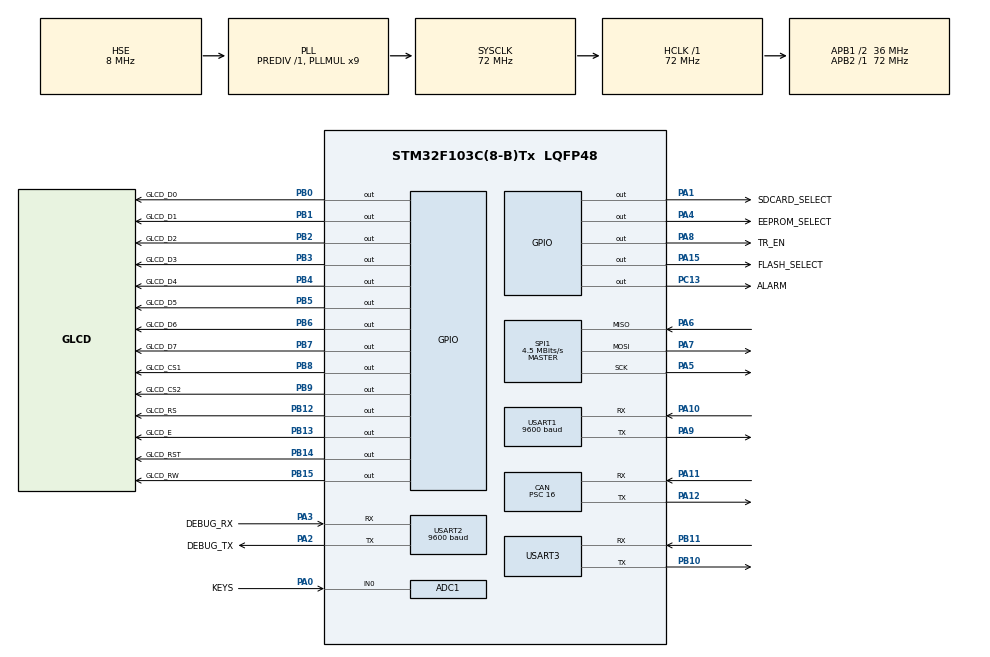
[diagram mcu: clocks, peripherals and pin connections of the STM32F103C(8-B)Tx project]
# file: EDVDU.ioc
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ADC1.Channel-1\#ChannelRegularConversion=ADC_CHANNEL_0
ADC1.EnableInjectedConversion=DISABLE
ADC1.NbrOfConversionFlag=1
ADC1.Rank-1\#ChannelRegularConversion=1
ADC1.SamplingTime-1\#ChannelRegularConversion=ADC_SAMPLETIME_1CYCLE_5
ADC1.master=1
CAN.CalculateBaudRate=749999
CAN.CalculateTimeBit=1333
CAN.CalculateTimeQuantum=444.44444444444446
CAN.Prescaler=16
CAN.SJW=CAN_SJW_1TQ
Dma.ADC1.0.Direction=DMA_PERIPH_TO_MEMORY
Dma.ADC1.0.Instance=DMA1_Channel1
Dma.ADC1.0.MemDataAlignment=DMA_MDATAALIGN_HALFWORD
Dma.ADC1.0.MemInc=DMA_MINC_ENABLE
Dma.ADC1.0.Mode=DMA_NORMAL
Dma.ADC1.0.PeriphDataAlignment=DMA_PDATAALIGN_HALFWORD
Dma.ADC1.0.PeriphInc=DMA_PINC_DISABLE
Dma.ADC1.0.Priority=DMA_PRIORITY_LOW
Dma.Request0=ADC1
Mcu.Family=STM32F1
Mcu.Name=STM32F103C(8-B)Tx
Mcu.Package=LQFP48
NVIC.ADC1_2_IRQn=true\:0\:0\:false\:false\:true\:true\:true\:true
NVIC.DMA1_Channel1_IRQn=true\:0\:0\:false\:false\:true\:false\:true\:true
NVIC.PriorityGroup=NVIC_PRIORITYGROUP_4
NVIC.USART2_IRQn=true\:0\:0\:false\:false\:true\:true\:true\:true
PA0-WKUP.GPIO_Label=KEYS
PA0-WKUP.Signal=ADCx_IN0
PA1.GPIO_Label=SDCARD_SELECT
PA1.Signal=GPIO_Output
PA10.Mode=Asynchronous
PA10.Signal=USART1_RX
PA11.Mode=CAN_Activate
PA11.Signal=CAN_RX
PA12.Mode=CAN_Activate
PA12.Signal=CAN_TX
PA13.Mode=Serial_Wire
PA13.Signal=SYS_JTMS-SWDIO
PA14.Mode=Serial_Wire
PA14.Signal=SYS_JTCK-SWCLK
PA15.GPIO_Label=FLASH_SELECT
PA15.Signal=GPIO_Output
PA2.GPIO_Label=DEBUG_TX
PA2.Mode=Asynchronous
PA2.Signal=USART2_TX
PA3.GPIO_Label=DEBUG_RX
PA3.Mode=Asynchronous
PA3.Signal=USART2_RX
PA4.GPIO_Label=EEPROM_SELECT
PA4.Signal=GPIO_Output
PA5.Mode=Full_Duplex_Master
PA5.Signal=SPI1_SCK
PA6.Mode=Full_Duplex_Master
PA6.Signal=SPI1_MISO
PA7.Mode=Full_Duplex_Master
PA7.Signal=SPI1_MOSI
PA8.GPIO_Label=TR_EN
PA8.Signal=GPIO_Output
PA9.Mode=Asynchronous
PA9.Signal=USART1_TX
PB0.GPIO_Label=GLCD_D0
PB0.Signal=GPIO_Output
PB1.GPIO_Label=GLCD_D1
PB1.Signal=GPIO_Output
PB10.Mode=Asynchronous
PB10.Signal=USART3_TX
PB11.Mode=Asynchronous
PB11.Signal=USART3_RX
PB12.GPIO_Label=GLCD_RS
PB12.Signal=GPIO_Output
PB13.GPIO_Label=GLCD_E
PB13.Signal=GPIO_Output
PB14.GPIO_Label=GLCD_RST
PB14.Signal=GPIO_Output
PB15.GPIO_Label=GLCD_RW
PB15.Signal=GPIO_Output
PB2.GPIO_Label=GLCD_D2
PB2.Signal=GPIO_Output
PB3.GPIO_Label=GLCD_D3
PB3.Signal=GPIO_Output
PB4.GPIO_Label=GLCD_D4
PB4.Signal=GPIO_Output
PB5.GPIO_Label=GLCD_D5
PB5.Signal=GPIO_Output
PB6.GPIO_Label=GLCD_D6
PB6.Signal=GPIO_Output
PB7.GPIO_Label=GLCD_D7
PB7.Signal=GPIO_Output
PB8.GPIO_Label=GLCD_CS1
PB8.Signal=GPIO_Output
PB9.GPIO_Label=GLCD_CS2
PB9.Signal=GPIO_Output
PC13-TAMPER-RTC.GPIO_Label=ALARM
PC13-TAMPER-RTC.Signal=GPIO_Output
PD0-OSC_IN.Mode=HSE-External-Oscillator
PD0-OSC_IN.Signal=RCC_OSC_IN
PD1-OSC_OUT.Mode=HSE-External-Oscillator
PD1-OSC_OUT.Signal=RCC_OSC_OUT
ProjectManager.HeapSize=0x200
ProjectManager.StackSize=0x400
ProjectManager.TargetToolchain=MDK-ARM V5.32
RCC.ADCPresc=RCC_ADCPCLK2_DIV6
RCC.AHBFreq_Value=72000000
RCC.APB1CLKDivider=RCC_HCLK_DIV2
RCC.APB1Freq_Value=36000000
RCC.APB1TimFreq_Value=72000000
RCC.APB2Freq_Value=72000000
RCC.APB2TimFreq_Value=72000000
RCC.HCLKFreq_Value=72000000
RCC.PLLMUL=RCC_PLL_MUL9
RCC.PLLSourceVirtual=RCC_PLLSOURCE_HSE
RCC.RTCClockSelection=RCC_RTCCLKSOURCE_LSE
RCC.SYSCLKFreq_VALUE=72000000
RCC.SYSCLKSource=RCC_SYSCLKSOURCE_PLLCLK
RCC.USBFreq_Value=72000000
SH.ADCx_IN0.0=ADC1_IN0,IN0
SPI1.BaudRatePrescaler=SPI_BAUDRATEPRESCALER_16
SPI1.CalculateBaudRate=4.5 MBits/s
SPI1.Direction=SPI_DIRECTION_2LINES
SPI1.Mode=SPI_MODE_MASTER
SPI1.VirtualType=VM_MASTER
TIM2.Channel-PWM\ Generation1\ No\ Output=TIM_CHANNEL_1
USART1.BaudRate=9600
USART1.VirtualMode=VM_ASYNC
USART2.BaudRate=9600
USART2.VirtualMode=VM_ASYNC
USART3.VirtualMode=VM_ASYNC
VP_TIM1_VS_ClockSourceINT.Mode=Internal
VP_TIM2_VS_ClockSourceINT.Mode=Internal
VP_TIM2_VS_no_output1.Mode=PWM Generation1 No Output
board=custom

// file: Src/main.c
/* USER CODE BEGIN Header */
/**
  ******************************************************************************
  * @file           : main.c
  * @brief          : Main program body
  ******************************************************************************
  * @attention
  *
  * Copyright (c) 2022 STMicroelectronics.
  * All rights reserved.
  *
  * This software is licensed under terms that can be found in the LICENSE file
  * in the root directory of this software component.
  * If no LICENSE file comes with this software, it is provided AS-IS.
  *
  ******************************************************************************
  */
/* USER CODE END Header */
#include "main.h"

/* USER CODE BEGIN Includes */
#include "FONT/font/f5x7.h"
#include "FONT/font/AF9x10.h"
#include "FONT/font/AF12x16.h"
#include "FONT/font/f10x20.h"
#include "BMP/Logo.h"
#include "u8g2/u8g2.h"

/* USER CODE END Includes */

/* USER CODE BEGIN PM */
void Input_DB_GLCD(void);
void Output_DB_GLCD(void);
void Write_DB_GLCD(unsigned char x);
unsigned char Read_DB_GLCD(void);
unsigned int _delay_us(unsigned int Delay);

uint8_t ReadKey(void);
uint8_t SelectedPlace(uint8_t key);

/* USER CODE END PM */

ADC_HandleTypeDef hadc1;
DMA_HandleTypeDef hdma_adc1;

CAN_HandleTypeDef hcan;

SPI_HandleTypeDef hspi1;

TIM_HandleTypeDef htim1;
TIM_HandleTypeDef htim2;

UART_HandleTypeDef huart1;
UART_HandleTypeDef huart2;
UART_HandleTypeDef huart3;

/* USER CODE BEGIN PV */
unsigned char Data;
char data[37];
char Ctemp[20];

typedef struct
{
  uint8_t menuPosition;
  uint8_t isSelected;
  uint8_t page;
  char name;
} menuItems;

typedef struct
{
  uint8_t x1;
  uint8_t y1;
  uint8_t x2;
  uint8_t y2;
} menuPosition;

/* USER CODE END PV */

void SystemClock_Config(void);
static void MX_GPIO_Init(void);
static void MX_DMA_Init(void);
static void MX_USART1_UART_Init(void);
static void MX_USART2_UART_Init(void);
static void MX_ADC1_Init(void);
static void MX_CAN_Init(void);
static void MX_SPI1_Init(void);
static void MX_TIM1_Init(void);
static void MX_USART3_UART_Init(void);
static void MX_TIM2_Init(void);
/* USER CODE BEGIN PFP */

//uint8_t u8g2_gpio_and_delay_stm32(U8X8_UNUSED u8x8_t *u8x8, U8X8_UNUSED uint8_t msg, U8X8_UNUSED uint8_t arg_int, U8X8_UNUSED void *arg_ptr)
//{
//	switch(msg){
//		//Initialize SPI peripheral
//		case U8X8_MSG_GPIO_AND_DELAY_INIT:
//			/* HAL initialization contains all what we need so we can skip this part. */

//		break;

//		//Function which implements a delay, arg_int contains the amount of ms
//		case U8X8_MSG_DELAY_MILLI:
//		HAL_Delay(arg_int);

//		break;
//		//Function which delays 10us
//		case U8X8_MSG_DELAY_10MICRO:
//		for (uint16_t n = 0; n < 320; n++)
//		{
//			__NOP();
//		}

//		break;
//		//Function which delays 100ns
//		case U8X8_MSG_DELAY_100NANO:
//		__NOP();

//		break;
//		//Function to define the logic level of the clockline
//		case U8X8_MSG_GPIO_SPI_CLOCK:
//			if (arg_int) HAL_GPIO_WritePin(SCK_GPIO_Port, SCK_Pin, RESET);
//			else HAL_GPIO_WritePin(SCK_GPIO_Port, SCK_Pin, SET);

//		break;
//		//Function to define the logic level of the data line to the display
//		case U8X8_MSG_GPIO_SPI_DATA:
//			if (arg_int) HAL_GPIO_WritePin(MOSI_GPIO_Port, MOSI_Pin, SET);
//			else HAL_GPIO_WritePin(MOSI_GPIO_Port, MOSI_Pin, RESET);

//		break;
//		// Function to define the logic level of the CS line
//		case U8X8_MSG_GPIO_CS:
//			if (arg_int) HAL_GPIO_WritePin(LCD_CS_GPIO_Port, LCD_CS_Pin, RESET);
//			else HAL_GPIO_WritePin(LCD_CS_GPIO_Port, LCD_CS_Pin, SET);

//		break;
//		//Function to define the logic level of the Data/ Command line
//		case U8X8_MSG_GPIO_DC:
////			if (arg_int) HAL_GPIO_WritePin(CD_LCD_PORT, CD_LCD_PIN, SET);
////			else HAL_GPIO_WritePin(CD_LCD_PORT, CD_LCD_PIN, RESET);

//		break;
//		//Function to define the logic level of the RESET line
//		case U8X8_MSG_GPIO_RESET:
//			if (arg_int) HAL_GPIO_WritePin(LCD_RESET_GPIO_Port, LCD_RESET_Pin, SET);
//			else HAL_GPIO_WritePin(LCD_RESET_GPIO_Port, LCD_RESET_Pin, RESET);

//		break;
//		default:
//			return 0; //A message was received which is not implemented, return 0 to indicate an error
//	}

//	return 1; // command processed successfully.
//}

/* USER CODE END PFP */

/* USER CODE BEGIN 0 */
uint32_t keysValue = 0;
uint8_t pressedKey = 0;
uint8_t pushedKey = 0;

char str[128];

uint8_t x=0, y=0, place=0;
uint8_t menuPlace[7]={0, 9, 18, 27, 36, 45, 54};

/* USER CODE END 0 */

int main(void)
{

  /* MCU Configuration--------------------------------------------------------*/

  /* Reset of all peripherals, Initializes the Flash interface and the Systick. */
  HAL_Init();

  /* Configure the system clock */
  SystemClock_Config();

  /* Initialize all configured peripherals */
  MX_GPIO_Init();
  MX_DMA_Init();
  MX_USART1_UART_Init();
  MX_USART2_UART_Init();
  MX_ADC1_Init();
  MX_CAN_Init();
  MX_SPI1_Init();
  MX_TIM1_Init();
  MX_USART3_UART_Init();
  MX_TIM2_Init();
  /* USER CODE BEGIN 2 */
//	u8g2_t u8g2;
//	u8g2_Setup_ks0108_128x64_1(&u8g2, U8G2_R0, u8x8_byte_ks0108, u8g2_gpio_and_delay_stm32);

	HAL_GPIO_TogglePin(ALARM_GPIO_Port, ALARM_Pin); HAL_Delay(100);
	HAL_GPIO_TogglePin(ALARM_GPIO_Port, ALARM_Pin); HAL_Delay(100);

	// Calibrate The ADC On Power-Up For Better Accuracy
  HAL_ADCEx_Calibration_Start(&hadc1);

	KS108_Init(NON_INVERTED); 	_delay_ms(100);
//	KS108_CLSx();

	KS108_DrawBitmap(Logo, 0, 0, TRANS);
	_delay_ms(1500);
	KS108_CLSx();

//	KS108_FillRect(128-20, 64-40, 10, 20, BLACK);
//	KS108_InvertRect(8, 8, 5, 7);
	//KS108_SetInverted(INVERTED);
//	_delay_ms(1500);
//	KS108_CLSx();
//	Line(10, 10, 120, 20, BLACK);
	//Rectangle(15, 15, 60, 40, WHITE);
//	RoundRectangle(40, 40, 63, 63, 4,1 ,BLACK);
//	Circle_Fill(30,30,10,0,BLACK);
//	_delay_ms(2500);
//	KS108_CLSx();

	SetLetter(E_LETTER);
	LcdFont(f5x7);

//	TextBox (0, 0,  48,  9, "EDVDU V1",  0);
//	TextBox (0, 9,  48,  18, "EDVDU V2",  0);
//	TextBox (0, 18,  48,  27, "EDVDU V3",  0);
//	TextBox (0, 27,  48,  36, "EDVDU V4",  0);
//	TextBox (0, 36,  48,  45, "EDVDU V5",  0);
//	TextBox (0, 45,  48,  54, "EDVDU V6",  0);
//	TextBox (0, 54,  48,  63, "EDVDU V7",  0);

	HAL_GPIO_TogglePin(ALARM_GPIO_Port, ALARM_Pin); HAL_Delay(100);
	HAL_GPIO_TogglePin(ALARM_GPIO_Port, ALARM_Pin); HAL_Delay(100);

  /* USER CODE END 2 */

  /* Infinite loop */
  /* USER CODE BEGIN WHILE */
  while (1)
  {

/*
	 // Start ADC Conversion
		HAL_ADC_Start(&hadc1);
	 // Poll ADC1 Perihperal & TimeOut = 1mSec
		HAL_ADC_PollForConversion(&hadc1, 1);
	 // Read The ADC Conversion Result & Map It To PWM DutyCycle
		keysValue = HAL_ADC_GetValue(&hadc1);
//		HAL_GPIO_TogglePin(ALARM_GPIO_Port, ALARM_Pin); HAL_Delay(1000);
*/

//		KS108_CLSx();

    HAL_ADC_Start_DMA(&hadc1, &keysValue, 1);

//		KS108_FillRect(0, 45, 42, 9, WHITE);
		KS108_FillRect(80, 45,  47,  9, WHITE);

		TextBox (0, 0,  54,  9, "EDVDU V1 Test Mode", 0);

//		sprintf(str, "Value of Keys = %d", keysValue);
//		TextBox (0, 9,  48,  18, str,  0);

		switch (pressedKey) {
				case (1):
						TextBox (0, 9,  48,  18, "GO",  0);
						break;
				case (2):
						TextBox (0, 9,  48,  18, "BACK",  0);
						break;
				case (3):
						TextBox (0, 9,  48,  18, "UP",  0);
						break;
				case (4):
						TextBox (0, 9,  48,  18, "SELECT",  0);
						break;
				case (5):
						TextBox (0, 9,  48,  18, "DOWN",  0);
						break;
				case (0):
						TextBox (0, 9,  48,  18, "NO KEYS",  0);
						break;
				default:
//						KS108_InvertRect(0, 0, 127, 63);
						break;
		}

		pushedKey = ReadKey();
		place = SelectedPlace(pushedKey);

		switch (place) {
				case (1):
						KS108_InvertRect(0, 54, 127, 9);
						break;
				case (2):
						KS108_InvertRect(0, 45, 127, 9);
						break;
				case (3):
						KS108_InvertRect(0, 36, 127, 9);
						break;
				case (4):
						KS108_InvertRect(0, 27, 127, 9);
						break;
				case (5):
						KS108_InvertRect(0, 18, 127, 9);
						break;
				case (6):
						KS108_InvertRect(0, 9, 127, 9);
						break;
				case (7):
						KS108_InvertRect(0, 0, 127, 9);
						break;
				default:
						KS108_CLSx();
				break;
		}

		HAL_Delay(100);

    /* USER CODE END WHILE */

  }
}

void SystemClock_Config(void)
{
  RCC_OscInitTypeDef RCC_OscInitStruct = {0};
  RCC_ClkInitTypeDef RCC_ClkInitStruct = {0};
  RCC_PeriphCLKInitTypeDef PeriphClkInit = {0};

  /** Initializes the RCC Oscillators according to the specified parameters
  * in the RCC_OscInitTypeDef structure.
  */
  RCC_OscInitStruct.OscillatorType = RCC_OSCILLATORTYPE_HSE;
  RCC_OscInitStruct.HSEState = RCC_HSE_ON;
  RCC_OscInitStruct.HSEPredivValue = RCC_HSE_PREDIV_DIV1;
  RCC_OscInitStruct.HSIState = RCC_HSI_ON;
  RCC_OscInitStruct.PLL.PLLState = RCC_PLL_ON;
  RCC_OscInitStruct.PLL.PLLSource = RCC_PLLSOURCE_HSE;
  RCC_OscInitStruct.PLL.PLLMUL = RCC_PLL_MUL9;
  if (HAL_RCC_OscConfig(&RCC_OscInitStruct) != HAL_OK)
  {
    Error_Handler();
  }

  /** Initializes the CPU, AHB and APB buses clocks
  */
  RCC_ClkInitStruct.ClockType = RCC_CLOCKTYPE_HCLK|RCC_CLOCKTYPE_SYSCLK
                              |RCC_CLOCKTYPE_PCLK1|RCC_CLOCKTYPE_PCLK2;
  RCC_ClkInitStruct.SYSCLKSource = RCC_SYSCLKSOURCE_PLLCLK;
  RCC_ClkInitStruct.AHBCLKDivider = RCC_SYSCLK_DIV1;
  RCC_ClkInitStruct.APB1CLKDivider = RCC_HCLK_DIV2;
  RCC_ClkInitStruct.APB2CLKDivider = RCC_HCLK_DIV1;

  if (HAL_RCC_ClockConfig(&RCC_ClkInitStruct, FLASH_LATENCY_2) != HAL_OK)
  {
    Error_Handler();
  }
  PeriphClkInit.PeriphClockSelection = RCC_PERIPHCLK_ADC;
  PeriphClkInit.AdcClockSelection = RCC_ADCPCLK2_DIV6;
  if (HAL_RCCEx_PeriphCLKConfig(&PeriphClkInit) != HAL_OK)
  {
    Error_Handler();
  }
}

static void MX_ADC1_Init(void)
{

  ADC_ChannelConfTypeDef sConfig = {0};

  /** Common config
  */
  hadc1.Instance = ADC1;
  hadc1.Init.ScanConvMode = ADC_SCAN_DISABLE;
  hadc1.Init.ContinuousConvMode = DISABLE;
  hadc1.Init.DiscontinuousConvMode = DISABLE;
  hadc1.Init.ExternalTrigConv = ADC_SOFTWARE_START;
  hadc1.Init.DataAlign = ADC_DATAALIGN_RIGHT;
  hadc1.Init.NbrOfConversion = 1;
  if (HAL_ADC_Init(&hadc1) != HAL_OK)
  {
    Error_Handler();
  }

  /** Configure Regular Channel
  */
  sConfig.Channel = ADC_CHANNEL_0;
  sConfig.Rank = ADC_REGULAR_RANK_1;
  sConfig.SamplingTime = ADC_SAMPLETIME_1CYCLE_5;
  if (HAL_ADC_ConfigChannel(&hadc1, &sConfig) != HAL_OK)
  {
    Error_Handler();
  }

}

static void MX_CAN_Init(void)
{

  hcan.Instance = CAN1;
  hcan.Init.Prescaler = 16;
  hcan.Init.Mode = CAN_MODE_NORMAL;
  hcan.Init.SyncJumpWidth = CAN_SJW_1TQ;
  hcan.Init.TimeSeg1 = CAN_BS1_1TQ;
  hcan.Init.TimeSeg2 = CAN_BS2_1TQ;
  hcan.Init.TimeTriggeredMode = DISABLE;
  hcan.Init.AutoBusOff = DISABLE;
  hcan.Init.AutoWakeUp = DISABLE;
  hcan.Init.AutoRetransmission = DISABLE;
  hcan.Init.ReceiveFifoLocked = DISABLE;
  hcan.Init.TransmitFifoPriority = DISABLE;
  if (HAL_CAN_Init(&hcan) != HAL_OK)
  {
    Error_Handler();
  }

}

static void MX_SPI1_Init(void)
{

  /* SPI1 parameter configuration*/
  hspi1.Instance = SPI1;
  hspi1.Init.Mode = SPI_MODE_MASTER;
  hspi1.Init.Direction = SPI_DIRECTION_2LINES;
  hspi1.Init.DataSize = SPI_DATASIZE_8BIT;
  hspi1.Init.CLKPolarity = SPI_POLARITY_LOW;
  hspi1.Init.CLKPhase = SPI_PHASE_1EDGE;
  hspi1.Init.NSS = SPI_NSS_SOFT;
  hspi1.Init.BaudRatePrescaler = SPI_BAUDRATEPRESCALER_16;
  hspi1.Init.FirstBit = SPI_FIRSTBIT_MSB;
  hspi1.Init.TIMode = SPI_TIMODE_DISABLE;
  hspi1.Init.CRCCalculation = SPI_CRCCALCULATION_DISABLE;
  hspi1.Init.CRCPolynomial = 10;
  if (HAL_SPI_Init(&hspi1) != HAL_OK)
  {
    Error_Handler();
  }

}

static void MX_TIM1_Init(void)
{

  TIM_ClockConfigTypeDef sClockSourceConfig = {0};
  TIM_MasterConfigTypeDef sMasterConfig = {0};

  htim1.Instance = TIM1;
  htim1.Init.Prescaler = 0;
  htim1.Init.CounterMode = TIM_COUNTERMODE_UP;
  htim1.Init.Period = 65535;
  htim1.Init.ClockDivision = TIM_CLOCKDIVISION_DIV1;
  htim1.Init.RepetitionCounter = 0;
  htim1.Init.AutoReloadPreload = TIM_AUTORELOAD_PRELOAD_DISABLE;
  if (HAL_TIM_Base_Init(&htim1) != HAL_OK)
  {
    Error_Handler();
  }
  sClockSourceConfig.ClockSource = TIM_CLOCKSOURCE_INTERNAL;
  if (HAL_TIM_ConfigClockSource(&htim1, &sClockSourceConfig) != HAL_OK)
  {
    Error_Handler();
  }
  sMasterConfig.MasterOutputTrigger = TIM_TRGO_RESET;
  sMasterConfig.MasterSlaveMode = TIM_MASTERSLAVEMODE_DISABLE;
  if (HAL_TIMEx_MasterConfigSynchronization(&htim1, &sMasterConfig) != HAL_OK)
  {
    Error_Handler();
  }

}

static void MX_TIM2_Init(void)
{

  TIM_ClockConfigTypeDef sClockSourceConfig = {0};
  TIM_MasterConfigTypeDef sMasterConfig = {0};
  TIM_OC_InitTypeDef sConfigOC = {0};

  htim2.Instance = TIM2;
  htim2.Init.Prescaler = 0;
  htim2.Init.CounterMode = TIM_COUNTERMODE_UP;
  htim2.Init.Period = 65535;
  htim2.Init.ClockDivision = TIM_CLOCKDIVISION_DIV1;
  htim2.Init.AutoReloadPreload = TIM_AUTORELOAD_PRELOAD_DISABLE;
  if (HAL_TIM_Base_Init(&htim2) != HAL_OK)
  {
    Error_Handler();
  }
  sClockSourceConfig.ClockSource = TIM_CLOCKSOURCE_INTERNAL;
  if (HAL_TIM_ConfigClockSource(&htim2, &sClockSourceConfig) != HAL_OK)
  {
    Error_Handler();
  }
  if (HAL_TIM_PWM_Init(&htim2) != HAL_OK)
  {
    Error_Handler();
  }
  sMasterConfig.MasterOutputTrigger = TIM_TRGO_RESET;
  sMasterConfig.MasterSlaveMode = TIM_MASTERSLAVEMODE_DISABLE;
  if (HAL_TIMEx_MasterConfigSynchronization(&htim2, &sMasterConfig) != HAL_OK)
  {
    Error_Handler();
  }
  sConfigOC.OCMode = TIM_OCMODE_PWM1;
  sConfigOC.Pulse = 0;
  sConfigOC.OCPolarity = TIM_OCPOLARITY_HIGH;
  sConfigOC.OCFastMode = TIM_OCFAST_DISABLE;
  if (HAL_TIM_PWM_ConfigChannel(&htim2, &sConfigOC, TIM_CHANNEL_1) != HAL_OK)
  {
    Error_Handler();
  }

}

static void MX_USART1_UART_Init(void)
{

  huart1.Instance = USART1;
  huart1.Init.BaudRate = 9600;
  huart1.Init.WordLength = UART_WORDLENGTH_8B;
  huart1.Init.StopBits = UART_STOPBITS_1;
  huart1.Init.Parity = UART_PARITY_NONE;
  huart1.Init.Mode = UART_MODE_TX_RX;
  huart1.Init.HwFlowCtl = UART_HWCONTROL_NONE;
  huart1.Init.OverSampling = UART_OVERSAMPLING_16;
  if (HAL_UART_Init(&huart1) != HAL_OK)
  {
    Error_Handler();
  }

}

static void MX_USART2_UART_Init(void)
{

  huart2.Instance = USART2;
  huart2.Init.BaudRate = 9600;
  huart2.Init.WordLength = UART_WORDLENGTH_8B;
  huart2.Init.StopBits = UART_STOPBITS_1;
  huart2.Init.Parity = UART_PARITY_NONE;
  huart2.Init.Mode = UART_MODE_TX_RX;
  huart2.Init.HwFlowCtl = UART_HWCONTROL_NONE;
  huart2.Init.OverSampling = UART_OVERSAMPLING_16;
  if (HAL_UART_Init(&huart2) != HAL_OK)
  {
    Error_Handler();
  }

}

static void MX_USART3_UART_Init(void)
{

  huart3.Instance = USART3;
  huart3.Init.BaudRate = 115200;
  huart3.Init.WordLength = UART_WORDLENGTH_8B;
  huart3.Init.StopBits = UART_STOPBITS_1;
  huart3.Init.Parity = UART_PARITY_NONE;
  huart3.Init.Mode = UART_MODE_TX_RX;
  huart3.Init.HwFlowCtl = UART_HWCONTROL_NONE;
  huart3.Init.OverSampling = UART_OVERSAMPLING_16;
  if (HAL_UART_Init(&huart3) != HAL_OK)
  {
    Error_Handler();
  }

}

static void MX_DMA_Init(void)
{

  /* DMA controller clock enable */
  __HAL_RCC_DMA1_CLK_ENABLE();

  /* DMA interrupt init */
  /* DMA1_Channel1_IRQn interrupt configuration */
  HAL_NVIC_SetPriority(DMA1_Channel1_IRQn, 0, 0);
  HAL_NVIC_EnableIRQ(DMA1_Channel1_IRQn);

}

static void MX_GPIO_Init(void)
{
  GPIO_InitTypeDef GPIO_InitStruct = {0};

  /* GPIO Ports Clock Enable */
  __HAL_RCC_GPIOC_CLK_ENABLE();
  __HAL_RCC_GPIOD_CLK_ENABLE();
  __HAL_RCC_GPIOA_CLK_ENABLE();
  __HAL_RCC_GPIOB_CLK_ENABLE();

  /*Configure GPIO pin Output Level */
  HAL_GPIO_WritePin(ALARM_GPIO_Port, ALARM_Pin, GPIO_PIN_RESET);

  /*Configure GPIO pin Output Level */
  HAL_GPIO_WritePin(GPIOA, SDCARD_SELECT_Pin|EEPROM_SELECT_Pin|TR_EN_Pin|FLASH_SELECT_Pin, GPIO_PIN_RESET);

  /*Configure GPIO pin Output Level */
  HAL_GPIO_WritePin(GPIOB, GLCD_D0_Pin|GLCD_D1_Pin|GLCD_D2_Pin|GLCD_RS_Pin
                          |GLCD_E_Pin|GLCD_RST_Pin|GLCD_RW_Pin|GLCD_D3_Pin
                          |GLCD_D4_Pin|GLCD_D5_Pin|GLCD_D6_Pin|GLCD_D7_Pin
                          |GLCD_CS1_Pin|GLCD_CS2_Pin, GPIO_PIN_RESET);

  /*Configure GPIO pin : ALARM_Pin */
  GPIO_InitStruct.Pin = ALARM_Pin;
  GPIO_InitStruct.Mode = GPIO_MODE_OUTPUT_PP;
  GPIO_InitStruct.Pull = GPIO_NOPULL;
  GPIO_InitStruct.Speed = GPIO_SPEED_FREQ_LOW;
  HAL_GPIO_Init(ALARM_GPIO_Port, &GPIO_InitStruct);

  /*Configure GPIO pins : SDCARD_SELECT_Pin EEPROM_SELECT_Pin TR_EN_Pin FLASH_SELECT_Pin */
  GPIO_InitStruct.Pin = SDCARD_SELECT_Pin|EEPROM_SELECT_Pin|TR_EN_Pin|FLASH_SELECT_Pin;
  GPIO_InitStruct.Mode = GPIO_MODE_OUTPUT_PP;
  GPIO_InitStruct.Pull = GPIO_NOPULL;
  GPIO_InitStruct.Speed = GPIO_SPEED_FREQ_LOW;
  HAL_GPIO_Init(GPIOA, &GPIO_InitStruct);

  /*Configure GPIO pins : GLCD_D0_Pin GLCD_D1_Pin GLCD_D2_Pin GLCD_RS_Pin
                           GLCD_E_Pin GLCD_RST_Pin GLCD_RW_Pin GLCD_D3_Pin
                           GLCD_D4_Pin GLCD_D5_Pin GLCD_D6_Pin GLCD_D7_Pin
                           GLCD_CS1_Pin GLCD_CS2_Pin */
  GPIO_InitStruct.Pin = GLCD_D0_Pin|GLCD_D1_Pin|GLCD_D2_Pin|GLCD_RS_Pin
                          |GLCD_E_Pin|GLCD_RST_Pin|GLCD_RW_Pin|GLCD_D3_Pin
                          |GLCD_D4_Pin|GLCD_D5_Pin|GLCD_D6_Pin|GLCD_D7_Pin
                          |GLCD_CS1_Pin|GLCD_CS2_Pin;
  GPIO_InitStruct.Mode = GPIO_MODE_OUTPUT_PP;
  GPIO_InitStruct.Pull = GPIO_NOPULL;
  GPIO_InitStruct.Speed = GPIO_SPEED_FREQ_LOW;
  HAL_GPIO_Init(GPIOB, &GPIO_InitStruct);

}

/* USER CODE BEGIN 4 */
void Input_DB_GLCD(void)
{
	GPIO_InitTypeDef GPIO_InitStruct;
	GPIO_InitStruct.Pin = GPIO_PIN_0|GPIO_PIN_1|GPIO_PIN_2|GPIO_PIN_3 |GPIO_PIN_4|GPIO_PIN_5|GPIO_PIN_6|GPIO_PIN_7;
	GPIO_InitStruct.Mode = GPIO_MODE_INPUT;
	GPIO_InitStruct.Pull = GPIO_PULLUP;
	HAL_GPIO_Init(GPIOB, &GPIO_InitStruct);

}
void Output_DB_GLCD(void)
{
	GPIO_InitTypeDef GPIO_InitStruct;
	GPIO_InitStruct.Pin = GPIO_PIN_0|GPIO_PIN_1|GPIO_PIN_2|GPIO_PIN_3 |GPIO_PIN_4|GPIO_PIN_5|GPIO_PIN_6|GPIO_PIN_7;
	GPIO_InitStruct.Mode = GPIO_MODE_OUTPUT_PP;
	GPIO_InitStruct.Speed = GPIO_SPEED_FREQ_LOW;HAL_GPIO_Init(GPIOB, &GPIO_InitStruct);
	HAL_GPIO_Init(GPIOB, &GPIO_InitStruct);
}
void Write_DB_GLCD(unsigned char x)
{
	HAL_GPIO_WritePin(KS108_DB_PRT,GPIO_PIN_0|GPIO_PIN_1|GPIO_PIN_2|GPIO_PIN_3 |GPIO_PIN_4|GPIO_PIN_5|GPIO_PIN_6|GPIO_PIN_7,GPIO_PIN_RESET);
	HAL_GPIO_WritePin(KS108_DB_PRT,(x),GPIO_PIN_SET);
}

unsigned char Read_DB_GLCD(void)
{
	Data=0;
	if(HAL_GPIO_ReadPin(KS108_DB_PRT,GPIO_PIN_0))
		Data|=1;
	if(HAL_GPIO_ReadPin(KS108_DB_PRT,GPIO_PIN_1))
		Data|=2;
	if(HAL_GPIO_ReadPin(KS108_DB_PRT,GPIO_PIN_2))
		Data|=4;
	if(HAL_GPIO_ReadPin(KS108_DB_PRT,GPIO_PIN_3))
		Data|=8;
	if(HAL_GPIO_ReadPin(KS108_DB_PRT,GPIO_PIN_4))
		Data|=16;
	if(HAL_GPIO_ReadPin(KS108_DB_PRT,GPIO_PIN_5))
		Data|=32;
	if(HAL_GPIO_ReadPin(KS108_DB_PRT,GPIO_PIN_6))
		Data|=64;
	if(HAL_GPIO_ReadPin(KS108_DB_PRT,GPIO_PIN_7))
		Data|=128;
	return Data;
}
unsigned int _delay_us(unsigned int Delay)
{
		//Delay*=100;
		unsigned int Sum=0;
		for(unsigned int Counter=0;Counter<=Delay;Counter++)
		{
				Sum+=Counter;
		}
		return Sum;
}

void HAL_ADC_ConvCpltCallback(ADC_HandleTypeDef* hadc)
{
	if(keysValue==0) {pressedKey=1;}
	else if(500<keysValue&&keysValue<600) {pressedKey=2;}
	else if(1300<keysValue&&keysValue<1400) {pressedKey=3;}
	else if(2000<keysValue&&keysValue<2100) {pressedKey=4;}
	else if(2900<keysValue&&keysValue<3000) {pressedKey=5;}
	else {pressedKey=0;}
}

uint8_t ReadKey(void)
{
	return pressedKey;
}

uint8_t SelectedPlace(uint8_t key)
{
	uint8_t place;

	if (key==5){place++; if (place>7){place=7;}	}
	else if (key==3){place--; if (place<1){place=1;}	}

	return place;
}
/* USER CODE END 4 */

void Error_Handler(void)
{
  __disable_irq();
  while (1)
  {
  }
}
